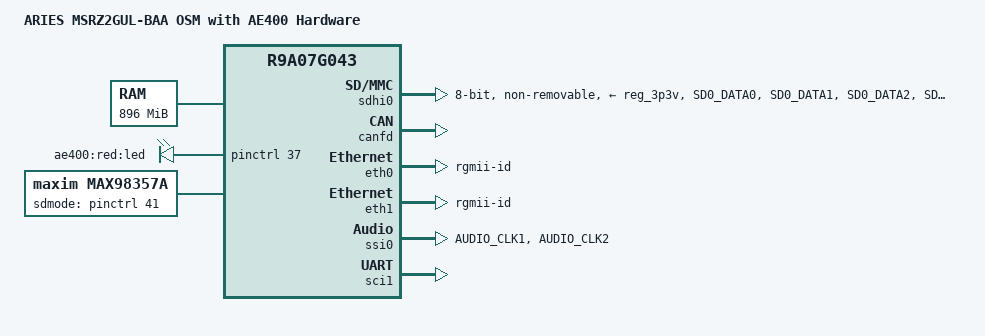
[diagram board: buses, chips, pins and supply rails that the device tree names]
// SPDX-License-Identifier: GPL-2.0
/*
 * Device Tree Source for the MSRZG2UL Single A55 OSM with AE400 Hardware Support
 * METHOD A: Direct merge into existing synthetic msrzg2ul-baa.dts
 *
 * Copyright (C) 2021 Renesas Electronics Corp.
 * Copyright (C) 2023 ARIES Embedded
 * AE400 Hardware integration: 2025
 */

/dts-v1/;
#include "../renesas/r9a07g043u.dtsi"
#include "msrzg2ul.dtsi"

/ {
	model = "ARIES MSRZ2GUL-BAA OSM with AE400 Hardware";
	compatible = "aries,msrz2gul-baa", "aries,msrz2gul", "renesas,r9a07g043u11", "renesas,r9a07g043";

	memory@48000000 {
		device_type = "memory";
		/* first 128MB is reserved for secure area. */
		reg = <0x0 0x48000000 0x0 0x38000000>;
	};

	reserved-memory {
		#address-cells = <2>;
		#size-cells = <2>;
		ranges;

		global_cma: linux,cma@58000000 {
			compatible = "shared-dma-pool";
			linux,cma-default;
			reusable;
			reg = <0x0 0x58000000 0x0 0x08000000>;
		};
		//mmp_reserved: linux,multimedia {
		//	compatible = "shared-dma-pool";
		//	reusable;
		//	reg = <0x00000000 0x68000000 0x0 0x8000000>;
		//};
	};
		/* GPIO LED Configuration - P4_5 (PCB_RED_LED) */
		leds {
			compatible = "gpio-leds";
			status = "okay";

			led_red: led_red {
				label = "ae400:red:led";
				gpios = <&pinctrl 37 GPIO_ACTIVE_HIGH>;
				default-state = "off";
			};
		};


};

&ehci0 {
	memory-region = <&global_cma>;
};

&ohci0 {
	memory-region = <&global_cma>;
};

&ehci1 {
	memory-region = <&global_cma>;
};

&ohci1 {
	memory-region = <&global_cma>;
};


&pinctrl {
	sdhi0_pins: sd0 {
		sd0_data {
			pins = "SD0_DATA0", "SD0_DATA1", "SD0_DATA2", "SD0_DATA3",
			       "SD0_DATA4", "SD0_DATA5", "SD0_DATA6", "SD0_DATA7";
			power-source = <1800>;
		};

		sd0_ctrl {
			pins = "SD0_CLK", "SD0_CMD", "SD0_RST#";
			power-source = <1800>;
		};

		sd0_rst {
			pins = "SD0_RST#";
			power-source = <1800>;
		};
	};

	/* CAN Bus Pins */
	can0_pins: can0 {
		pinmux = <RZG2L_PORT_PINMUX(6, 2, 3)>,  /* CAN0_RX */
		         <RZG2L_PORT_PINMUX(13, 1, 3)>; /* CAN0_TX */
	};

	can1_pins: can1 {
		pinmux = <RZG2L_PORT_PINMUX(14, 1, 3)>, /* CAN1_RX */
		         <RZG2L_PORT_PINMUX(17, 0, 3)>; /* CAN1_TX */
	};

	/* Ethernet 0 Pins (RGMII) */
	eth0_pins: eth0 {
		pinmux = <RZG2L_PORT_PINMUX(1, 0, 1)>,  /* ET0_TXCLK */
		         <RZG2L_PORT_PINMUX(1, 1, 1)>,  /* ET0_TX_CTL */
		         <RZG2L_PORT_PINMUX(1, 2, 1)>,  /* ET0_TXD0 */
		         <RZG2L_PORT_PINMUX(1, 3, 1)>,  /* ET0_TXD1 */
		         <RZG2L_PORT_PINMUX(1, 4, 1)>,  /* ET0_TXD2 */
		         <RZG2L_PORT_PINMUX(2, 0, 1)>,  /* ET0_TXD3 */
		         <RZG2L_PORT_PINMUX(3, 0, 1)>,  /* ET0_RXCLK */
		         <RZG2L_PORT_PINMUX(3, 1, 1)>,  /* ET0_RX_CTL */
		         <RZG2L_PORT_PINMUX(3, 2, 1)>,  /* ET0_RXD0 */
		         <RZG2L_PORT_PINMUX(3, 3, 1)>,  /* ET0_RXD1 */
		         <RZG2L_PORT_PINMUX(4, 0, 1)>,  /* ET0_RXD2 */
		         <RZG2L_PORT_PINMUX(4, 1, 1)>,  /* ET0_RXD3 */
		         <RZG2L_PORT_PINMUX(4, 3, 1)>,  /* ET0_MDC */
		         <RZG2L_PORT_PINMUX(4, 4, 1)>;  /* ET0_MDIO */
	};

	/* Ethernet 1 Pins (RGMII) */
	eth1_pins: eth1 {
		pinmux = <RZG2L_PORT_PINMUX(7, 0, 1)>,  /* ET1_TXCLK */
		         <RZG2L_PORT_PINMUX(7, 1, 1)>,  /* ET1_TX_CTL */
		         <RZG2L_PORT_PINMUX(7, 2, 1)>,  /* ET1_TXD0 */
		         <RZG2L_PORT_PINMUX(7, 3, 1)>,  /* ET1_TXD1 */
		         <RZG2L_PORT_PINMUX(7, 4, 1)>,  /* ET1_TXD2 */
		         <RZG2L_PORT_PINMUX(8, 0, 1)>,  /* ET1_TXD3 */
		         <RZG2L_PORT_PINMUX(8, 4, 1)>,  /* ET1_RXCLK */
		         <RZG2L_PORT_PINMUX(9, 0, 1)>,  /* ET1_RX_CTL */
		         <RZG2L_PORT_PINMUX(9, 1, 1)>,  /* ET1_RXD0 */
		         <RZG2L_PORT_PINMUX(9, 2, 1)>,  /* ET1_RXD1 */
		         <RZG2L_PORT_PINMUX(9, 3, 1)>,  /* ET1_RXD2 */
		         <RZG2L_PORT_PINMUX(10, 0, 1)>, /* ET1_RXD3 */
		         <RZG2L_PORT_PINMUX(10, 2, 1)>, /* ET1_MDC */
		         <RZG2L_PORT_PINMUX(10, 3, 1)>; /* ET1_MDIO */
	};

	/* Audio Clock Input Pins - from external 12.288MHz oscillator */
	sound_clk_pins: sound_clk {
		pins = "AUDIO_CLK1", "AUDIO_CLK2";
		input-enable;
	};

	/* I2S/SSI Pins - Port 11 on RZ/G2UL */
	ssi0_pins: ssi0 {
		pinmux = <RZG2L_PORT_PINMUX(11, 0, 1)>, /* BCK */
		         <RZG2L_PORT_PINMUX(11, 1, 1)>, /* RCK/LRCLK */
		         <RZG2L_PORT_PINMUX(11, 2, 1)>, /* TXD (playback) */
		         <RZG2L_PORT_PINMUX(11, 3, 1)>; /* RXD (record) */
	};

	/* GPS UART Pins */
	sci1_pins: sci1 {
		pinmux = <RZG2L_PORT_PINMUX(18, 4, 6)>, /* TXD */
		         <RZG2L_PORT_PINMUX(18, 5, 6)>; /* RXD */
	};
};

&sdhi0 {
	pinctrl-0 = <&sdhi0_pins>;
	pinctrl-1 = <&sdhi0_pins>;
	pinctrl-names = "default", "state_uhs";

	vmmc-supply = <&reg_3p3v>;
	vqmmc-supply = <&reg_1p8v>;
	bus-width = <8>;
	mmc-hs200-1_8v;
	non-removable;
	fixed-emmc-driver-type = <1>;
	status = "okay";
};

/* CAN Bus Configuration */
&canfd {
	pinctrl-0 = <&can0_pins &can1_pins>;
	pinctrl-names = "default";
	status = "okay";

	channel0 {
		status = "okay";
	};

	channel1 {
		status = "okay";
	};
};

/* Ethernet Configuration */
&eth0 {
	pinctrl-names = "default";
	pinctrl-0 = <&eth0_pins>;
	phy-mode = "rgmii-id";
	status = "okay";
};

&eth1 {
	pinctrl-names = "default";
	pinctrl-0 = <&eth1_pins>;
	phy-mode = "rgmii-id";
	status = "okay";
};

/* I2S Audio Configuration */
&ssi0 {
	pinctrl-0 = <&ssi0_pins &sound_clk_pins>;
	pinctrl-names = "default";
	status = "okay";
};

/* GPS UART Configuration */
&sci1 {
	pinctrl-0 = <&sci1_pins>;
	pinctrl-names = "default";
	status = "okay";
};

/* Disable Display Unit (no panel attached) to free conflicting pins */
&{/soc/display@10890000} {
	status = "disabled";
};

/* Simple Audio Card linking SSI0 to MAX98357A */
/ {
	sound: sound {
		compatible = "simple-audio-card";
		simple-audio-card,name = "ae400-audio";
		simple-audio-card,format = "i2s";
		simple-audio-card,bitclock-master = <&dailink0_master>;
		simple-audio-card,frame-master = <&dailink0_master>;
		simple-audio-card,mclk-fs = <512>;  /* 24.576 MHz / 48000 Hz = 512 */

		/* DAPM widgets - define the external speaker endpoint */
		simple-audio-card,widgets =
			"Speaker", "Ext Spk";

		/* DAPM routing - connect codec output to external speaker */
		simple-audio-card,routing =
			"Ext Spk", "Speaker";

		dailink0_master: simple-audio-card,cpu {
			sound-dai = <&ssi0>;
		};

		simple-audio-card,codec {
			sound-dai = <&max98357a>;
		};
	};

	max98357a: max98357a {
		compatible = "maxim,max98357a";
		#sound-dai-cells = <0>;
		sdmode-gpios = <&pinctrl 41 GPIO_ACTIVE_HIGH>;
	};
};
